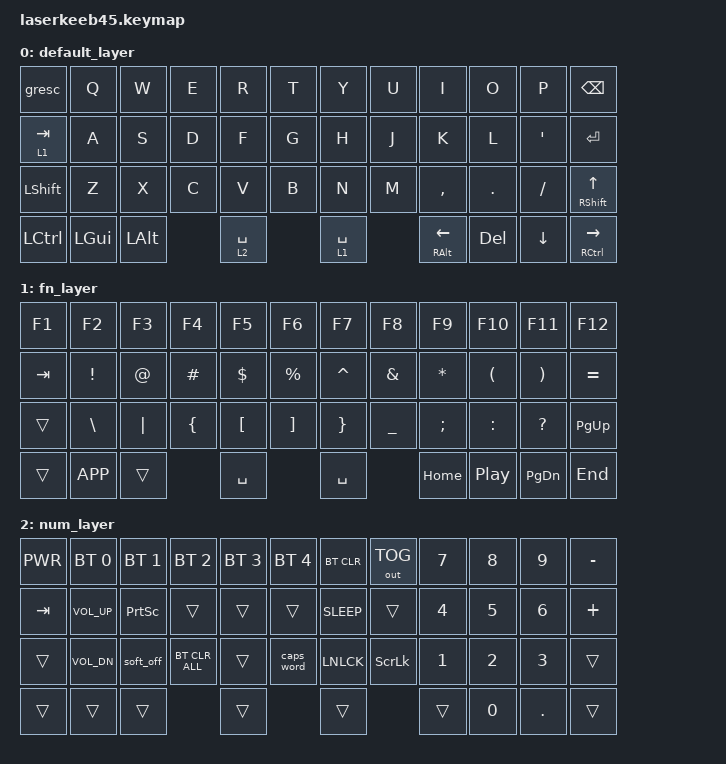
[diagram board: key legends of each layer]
#include <behaviors.dtsi>
#include <dt-bindings/zmk/keys.h>
#include <dt-bindings/zmk/bt.h>
#include <dt-bindings/zmk/outputs.h>

/ {
    keymap {
        compatible = "zmk,keymap";

  default_layer {
// --------------------------------------------------------------------------------------------------------------------------------------------------------------------
// |   ESC   |    Q    |    W    |    E    |    R    |    T    |    Y    |    U    |    I    |    O    |    P    |    BSPC    |
// |   TAB    |    A    |    S    |    D    |    F    |    G    |    H    |    J    |    K    |    L    |    '    |   ENTER   |
// |  LSHFT    |    Z    |    X    |    C    |    V    |    B    |    N    |    M    |    ,    |    .    |    /    |  RSHFT   |
// |  LCTRL   |   LGUI    |   LALT  |         SPACE            |          SPACE        |   RALT  |   DEL   |  DOWN   |  RCTRL  |
            bindings = <
    &gresc 	&kp Q 	      &kp W     &kp E     &kp R     &kp T      &kp Y      &kp U      &kp I          &kp O      &kp P      &kp BSPC
    &lt 1 TAB   &kp A         &kp S     &kp D     &kp F     &kp G      &kp H      &kp J      &kp K          &kp L      &kp SQT    &kp ENTER
    &kp LSHFT   &kp Z         &kp X     &kp C     &kp V     &kp B      &kp N      &kp M      &kp COMMA      &kp DOT    &kp FSLH   &mt RSHFT UP
    &kp LCTRL   &kp LGUI      &kp LALT            &lt 2 SPACE          &lt 1 SPACE           &mt RALT LEFT  &kp DEL    &kp DOWN   &mt RCTRL RIGHT
            >;
        };
   fn_layer {
            bindings = <
    &kp F1      &kp F2        &kp F3    &kp F4    &kp F5    &kp F6     &kp F7     &kp F8     &kp F9         &kp F10    &kp F11    &kp F12
    &kp TAB     &kp EXCL      &kp AT    &kp HASH  &kp DLLR  &kp PRCNT  &kp CARET  &kp AMPS   &kp STAR       &kp LPAR   &kp RPAR   &kp EQUAL
    &trans      &kp BSLH      &kp PIPE  &kp LBRC  &kp LBKT  &kp RBKT   &kp RBRC   &kp UNDER  &kp SEMI       &kp COLON  &kp QMARK  &kp PG_UP
    &trans      &kp K_APP     &trans              &kp SPACE            &kp SPACE             &kp HOME       &kp C_PP   &kp PG_DN  &kp END
            >;
        };
  num_layer {
            bindings = <
    &kp C_PWR   &bt BT_SEL 0  &bt BT_SEL 1  &bt BT_SEL 2    &bt BT_SEL 3  &bt BT_SEL 4  &bt BT_CLR   &out OUT_TOG    &kp N7    &kp N8     &kp N9     &kp MINUS
    &kp TAB     &kp C_VOL_UP  &kp PSCRN     &trans          &trans  	  &trans        &kp C_SLEEP  &trans          &kp N4    &kp N5     &kp N6     &kp PLUS
    &trans   	&kp C_VOL_DN  &soft_off     &bt BT_CLR_ALL  &trans        &caps_word    &kp LNLCK     &kp SLCK        &kp N1    &kp N2     &kp N3     &trans
    &trans      &trans        &trans                      &trans                      &trans                       &trans    &kp N0     &kp DOT    &trans
            >;
        };
    };
};
